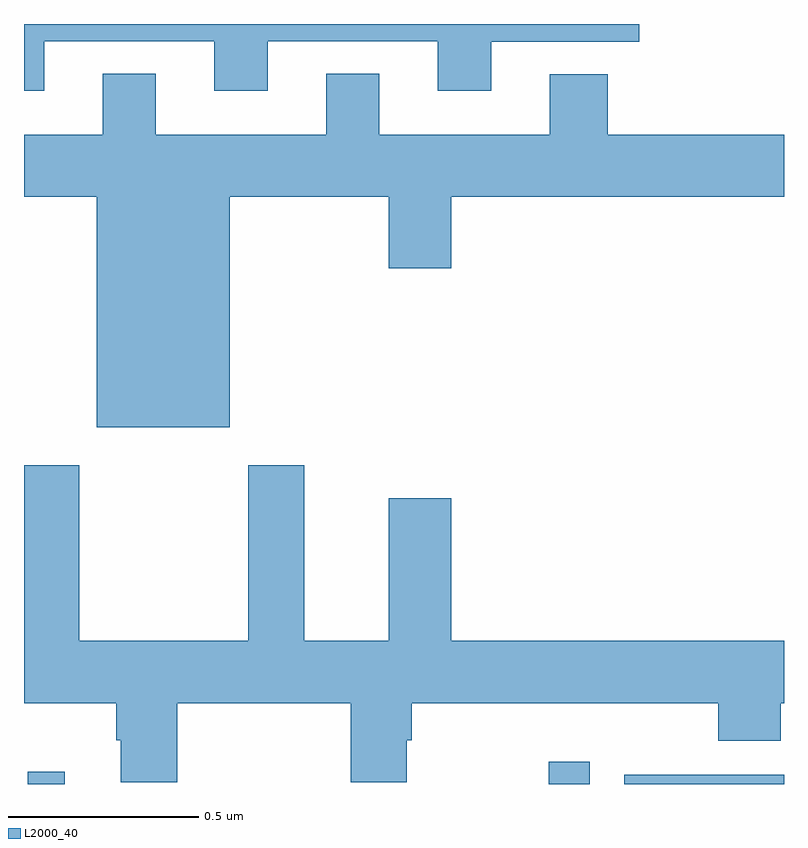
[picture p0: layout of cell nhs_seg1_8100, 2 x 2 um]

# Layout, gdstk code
import gdstk
lib = gdstk.Library(unit=1e-6, precision=1e-09)
def R(c, l, rs):  # rectangles x0, y0, x1, y1
    for r in rs: c.add(gdstk.rectangle(r[:2], r[2:], *l))
def P(c, l, *ps):  # polygons
    for p in ps: c.add(gdstk.Polygon(p, *l))
L2000_40 = (2000, 40)

nhs_seg1_8100 = lib.new_cell('nhs_seg1_8100')
R(nhs_seg1_8100, L2000_40, [(212.01,538.199,212.107,538.231), (213.381,538.199,213.489,538.258), (213.579,538.199,214,538.224)])
P(nhs_seg1_8100, L2000_40, [(212.053,540.153),(212.501,540.153),(212.501,540.024),(212.641,540.024),(212.641,540.153),(213.089,540.153),(213.089,540.024),(213.229,540.024),(213.229,540.152),(213.619,540.152),(213.619,540.199),(212,540.199),(212,540.024),(212.053,540.024)],
  [(212.542,539.744),(212.96,539.744),(212.96,539.556),(213.124,539.556),(213.124,539.744),(214,539.744),(214,539.908),(213.536,539.908),(213.536,540.067),(213.383,540.067),(213.383,539.908),(212.935,539.908),(212.935,540.068),(212.795,540.068),(212.795,539.908),(212.347,539.908),(212.347,540.068),(212.207,540.068),(212.207,539.908),(212,539.908),(212,539.744),(212.192,539.744),(212.192,539.138),(212.542,539.138)],
  [(212,539.038),(212,538.412),(212.243,538.412),(212.243,538.314),(212.255,538.314),(212.255,538.204),(212.403,538.204),(212.403,538.412),(212.86,538.412),(212.86,538.204),(213.007,538.204),(213.007,538.314),(213.02,538.314),(213.02,538.412),(213.827,538.412),(213.827,538.313),(213.992,538.313),(213.992,538.412),(214,538.412),(214,538.576),(213.124,538.576),(213.124,538.951),(212.96,538.951),(212.96,538.576),(212.737,538.576),(212.737,539.038),(212.59,539.038),(212.59,538.576),(212.145,538.576),(212.145,539.038)])

lib.write_gds('nhs_seg1_8100.gds')
